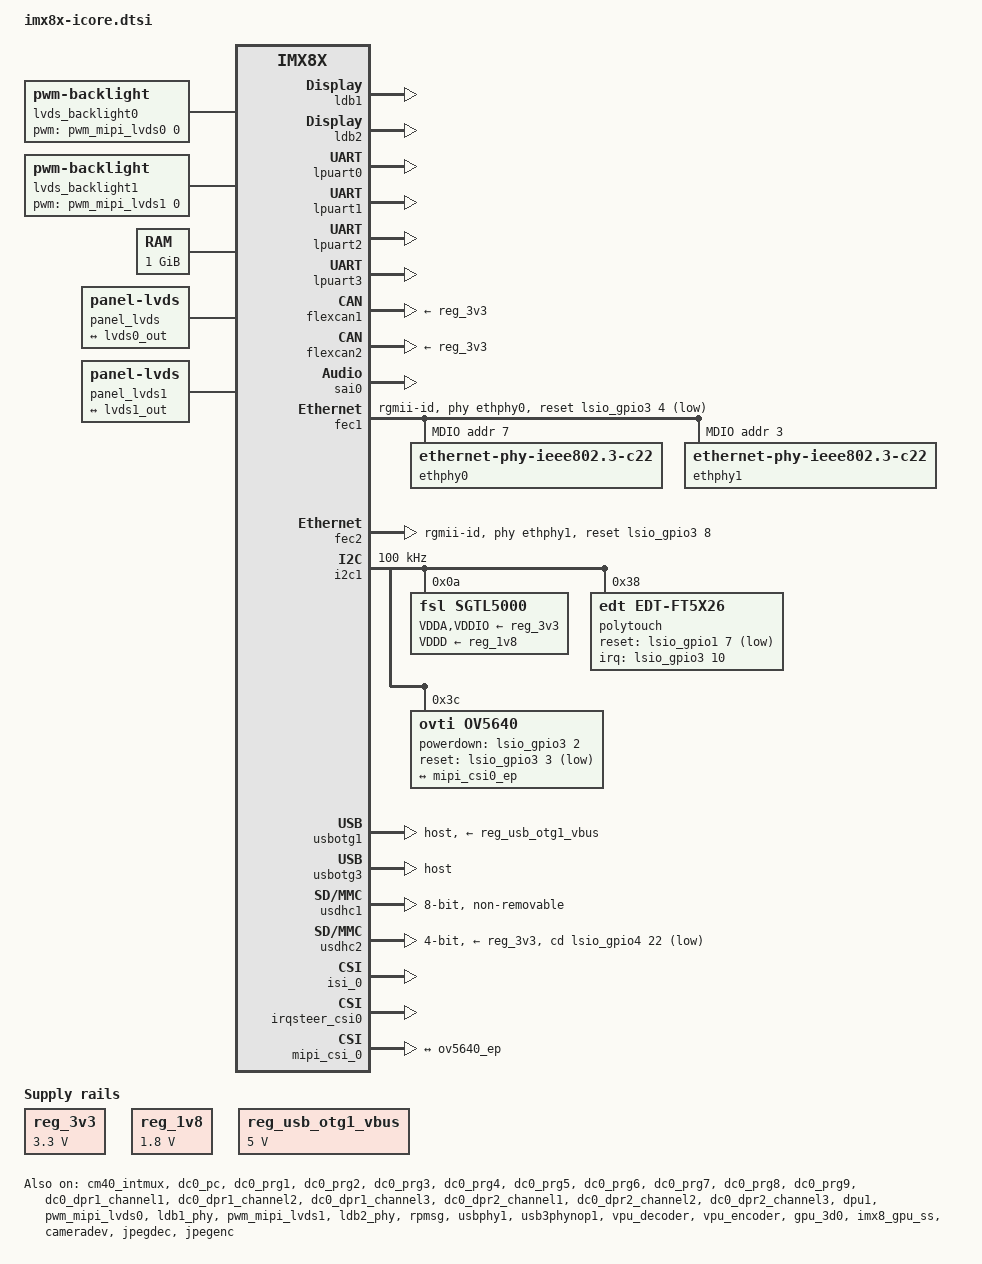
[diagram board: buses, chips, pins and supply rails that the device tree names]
// SPDX-License-Identifier: GPL-2.0+
/*
 * Copyright 2017-2020 NXP
 */

#include <dt-bindings/usb/pd.h>
/ {
	chosen {
		stdout-path = &lpuart0;
	};

	lvds_backlight0: lvds_backlight@0 {
		compatible = "pwm-backlight";
		pwms = <&pwm_mipi_lvds0 0 100000 0>;

		brightness-levels = < 0  1  2  3  4  5  6  7  8  9
				     10 11 12 13 14 15 16 17 18 19
				     20 21 22 23 24 25 26 27 28 29
				     30 31 32 33 34 35 36 37 38 39
				     40 41 42 43 44 45 46 47 48 49
				     50 51 52 53 54 55 56 57 58 59
				     60 61 62 63 64 65 66 67 68 69
				     70 71 72 73 74 75 76 77 78 79
				     80 81 82 83 84 85 86 87 88 89
				     90 91 92 93 94 95 96 97 98 99
				    100>;
		default-brightness-level = <80>;
	};

	lvds_backlight1: lvds_backlight@1 {
		compatible = "pwm-backlight";
		pwms = <&pwm_mipi_lvds1 0 100000 0>;

		brightness-levels = < 0  1  2  3  4  5  6  7  8  9
				     10 11 12 13 14 15 16 17 18 19
				     20 21 22 23 24 25 26 27 28 29
				     30 31 32 33 34 35 36 37 38 39
				     40 41 42 43 44 45 46 47 48 49
				     50 51 52 53 54 55 56 57 58 59
				     60 61 62 63 64 65 66 67 68 69
				     70 71 72 73 74 75 76 77 78 79
				     80 81 82 83 84 85 86 87 88 89
				     90 91 92 93 94 95 96 97 98 99
				    100>;
		default-brightness-level = <80>;
	};

	memory@80000000 {
		device_type = "memory";
		reg = <0x00000000 0x80000000 0 0x40000000>;
	};

	reserved-memory {
		#address-cells = <2>;
		#size-cells = <2>;
		ranges;

		/*
		 * 0x8800_0000 ~ 0x8FFF_FFFF is reserved for M4
		 * Shouldn't be used at A core and Linux side.
		 *
		 */
		m4_reserved: m4@0x88000000 {
			no-map;
			reg = <0 0x88000000 0 0x8000000>;
		};

		rpmsg_reserved: rpmsg@0x90000000 {
			no-map;
			reg = <0 0x90200000 0 0x200000>;
		};

		decoder_boot: decoder-boot@84000000 {
			reg = <0 0x84000000 0 0x2000000>;
			no-map;
		};

		encoder_boot: encoder-boot@86000000 {
			reg = <0 0x86000000 0 0x200000>;
			no-map;
		};

		decoder_rpc: decoder-rpc@0x92000000 {
			reg = <0 0x92000000 0 0x200000>;
			no-map;
		};

		encoder_rpc: encoder-rpc@0x92200000 {
			reg = <0 0x92200000 0 0x200000>;
			no-map;
		};
		encoder_reserved: encoder_reserved@94400000 {
			no-map;
			reg = <0 0x94400000 0 0x800000>;
		};
		/* global autoconfigured region for contiguous allocations */
		linux,cma {
			compatible = "shared-dma-pool";
			reusable;
			size = <0 0x3c000000>;
			alloc-ranges = <0 0x96000000 0 0x3c000000>;
			linux,cma-default;
		};
	};

	reg_3v3: regulator-3v3 {
		compatible = "regulator-fixed";
		regulator-name = "3v3";
		regulator-min-microvolt = <3300000>;
		regulator-max-microvolt = <3300000>;
		regulator-always-on;
	};

	reg_1v8: regulator-1v8 {
		compatible = "regulator-fixed";
		regulator-name = "1v8";
		regulator-min-microvolt = <1800000>;
		regulator-max-microvolt = <1800000>;
		regulator-always-on;
	};

	reg_usb_otg1_vbus: regulator-usbotg1-vbus {
		compatible = "regulator-fixed";
		regulator-name = "usb_otg1_vbus";
		regulator-min-microvolt = <5000000>;
		regulator-max-microvolt = <5000000>;
		regulator-always-on;
	};

	sound {
		compatible = "simple-audio-card";
		simple-audio-card,name = "imx8qxp-sgtl5000";
		simple-audio-card,format = "i2s";
		simple-audio-card,bitclock-master = <&dailink_master>;
		simple-audio-card,frame-master = <&dailink_master>;
		/*simple-audio-card,mclk-fs = <1>;*/
		simple-audio-card,cpu {
			sound-dai = <&sai0>;
		};

		dailink_master: simple-audio-card,codec {
		    sound-dai = <&sgtl5000>;
			clocks = <&mclkout0_lpcg 0>;
		};   
	};

	imx8x_cm4: imx8x_cm4@0 {
		compatible = "fsl,imx8qxp-cm4";
		rsc-da = <0x90000000>;
		mbox-names = "tx", "rx", "rxdb";
		mboxes = <&lsio_mu5 0 1
			  &lsio_mu5 1 1
			  &lsio_mu5 3 1>;
		mub-partition = <3>;
		memory-region = <&vdev0vring0>, <&vdev0vring1>, <&vdevbuffer>,
				<&vdev1vring0>, <&vdev1vring1>;
		core-index = <0>;
		core-id = <IMX_SC_R_M4_0_PID0>;
		status = "okay";
		power-domains = <&pd IMX_SC_R_M4_0_PID0>,
				<&pd IMX_SC_R_M4_0_MU_1A>;
	};

	panel_lvds: panel-lvds {
		compatible = "panel-lvds";

		width-mm = <210>;
		height-mm = <158>;
		data-mapping = "vesa-24";
		status = "okay";

		panel-timing {
			/* 1024x600 @65Hz */
			clock-frequency = <65000000>;
			hactive = <1024>;
			vactive = <600>;
			hsync-len = <136>;
			hfront-porch = <20>;
			hback-porch = <160>;
			vfront-porch = <3>;
			vback-porch = <29>;
			vsync-len = <6>;
		};

		port {
			panel_in_lvds: endpoint {
				remote-endpoint = <&lvds0_out>;
			};
		};
	};

	panel_lvds1: panel-lvds1 {
		compatible = "panel-lvds";

		width-mm = <210>;
		height-mm = <158>;
		data-mapping = "jeida-24";
		status = "okay";

		panel-timing {
			/* 1024x800 @65Hz */
			clock-frequency = <65000000>;
			hactive = <1024>;
			vactive = <800>;
			hsync-len = <136>;
			hfront-porch = <20>;
			hback-porch = <160>;
			vfront-porch = <3>;
			vback-porch = <29>;
			vsync-len = <6>;
		};

		port {
			panel_in_lvds1: endpoint {
				remote-endpoint = <&lvds1_out>;
			};
		};
	};

	reserved-memory {
		#address-cells = <2>;
		#size-cells = <2>;
		ranges;

		vdev0vring0: vdev0vring0@90000000 {
                        compatible = "shared-dma-pool";
			reg = <0 0x90000000 0 0x8000>;
			no-map;
		};

		vdev0vring1: vdev0vring1@90008000 {
                        compatible = "shared-dma-pool";
			reg = <0 0x90008000 0 0x8000>;
			no-map;
		};

		vdev1vring0: vdev1vring0@90010000 {
                        compatible = "shared-dma-pool";
			reg = <0 0x90010000 0 0x8000>;
			no-map;
		};

		vdev1vring1: vdev1vring1@90018000 {
                        compatible = "shared-dma-pool";
			reg = <0 0x90018000 0 0x8000>;
			no-map;
		};

		vdevbuffer: vdevbuffer {
                        compatible = "shared-dma-pool";
			reg = <0 0x90400000 0 0x100000>;
			no-map;
		};
	};

};

&cm40_i2c {
	#address-cells = <1>;
	#size-cells = <0>;
	clock-frequency = <100000>;
	pinctrl-names = "default", "gpio";
	pinctrl-0 = <&pinctrl_cm40_i2c>;
	pinctrl-1 = <&pinctrl_cm40_i2c_gpio>;
	scl-gpios = <&lsio_gpio1 10 GPIO_ACTIVE_HIGH>;
	sda-gpios = <&lsio_gpio1 9 GPIO_ACTIVE_HIGH>;
	status = "disabled";
};

&cm40_intmux {
	status = "okay";
};

&dc0_pc {
	status = "okay";
};

&dc0_prg1 {
	status = "okay";
};

&dc0_prg2 {
	status = "okay";

};

&dc0_prg3 {
	status = "okay";
};

&dc0_prg4 {
	status = "okay";
};

&dc0_prg5 {
	status = "okay";
};

&dc0_prg6 {
	status = "okay";
};

&dc0_prg7 {
	status = "okay";
};

&dc0_prg8 {
	status = "okay";
};

&dc0_prg9 {
	status = "okay";
};

&dc0_dpr1_channel1 {
	status = "okay";
};

&dc0_dpr1_channel2 {
	status = "okay";
};

&dc0_dpr1_channel3 {
	status = "okay";
};

&dc0_dpr2_channel1 {
	status = "okay";
};

&dc0_dpr2_channel2 {
	status = "okay";
};

&dc0_dpr2_channel3 {
	status = "okay";
};

&dpu1 {
	status = "okay";
};

&pwm_mipi_lvds0 {
	pinctrl-names = "default";
	pinctrl-0 = <&pinctrl_pwm_mipi_lvds0>;
	status = "okay";
};

&i2c0_mipi_lvds0 {
	#address-cells = <1>;
	#size-cells = <0>;
	pinctrl-names = "default";
	pinctrl-0 = <&pinctrl_i2c0_mipi_lvds0>;
	clock-frequency = <100000>;
	status = "disabled";
};

&ldb1_phy {
	status = "okay";
};

&ldb1 {
	status = "okay";
   	pinctrl-assert-gpios = <&lsio_gpio1 27 GPIO_ACTIVE_HIGH>;

	lvds-channel@0 {
		fsl,data-mapping = "spwg";
		fsl,data-width = <24>;
		status = "okay";

		port@1 {
			reg = <1>;

			lvds0_out: endpoint {
				remote-endpoint = <&panel_in_lvds>;
			};
		};
	};

};

&pwm_mipi_lvds1 {
	pinctrl-names = "default";
	pinctrl-0 = <&pinctrl_pwm_mipi_lvds1>;
	status = "okay";
};

&i2c0_mipi_lvds1 {
	#address-cells = <1>;
	#size-cells = <0>;
	pinctrl-names = "default";
	pinctrl-0 = <&pinctrl_i2c0_mipi_lvds1>;
	clock-frequency = <100000>;
	status = "disabled";
};

&ldb2_phy {
	status = "okay";
};

&ldb2 {
	status = "okay";
   	pinctrl-assert-gpios = <&lsio_gpio1 31 GPIO_ACTIVE_HIGH>;


	lvds-channel@0 {
		fsl,data-mapping = "jeida";
		fsl,data-width = <24>;
		status = "okay";

		port@1 {
			reg = <1>;

			lvds1_out: endpoint {
				remote-endpoint = <&panel_in_lvds1>;
			};
		};
	};
};

&lpuart0 {
	pinctrl-names = "default";
	pinctrl-0 = <&pinctrl_lpuart0>;
	status = "okay";
};

&lpuart1 {
	pinctrl-names = "default";
	pinctrl-0 = <&pinctrl_lpuart1>;
	status = "okay";
};

&lpuart2 {
	pinctrl-names = "default";
	pinctrl-0 = <&pinctrl_lpuart2>;
	status = "okay";
};

&lpuart3 {
	pinctrl-names = "default";
	pinctrl-0 = <&pinctrl_lpuart3>;
	status = "okay";
};

&flexcan1 {
	pinctrl-names = "default";
	pinctrl-0 = <&pinctrl_flexcan1>;
	xceiver-supply = <&reg_3v3>;
	status = "okay";
};

&flexcan2 {
	pinctrl-names = "default";
	pinctrl-0 = <&pinctrl_flexcan2>;
	xceiver-supply = <&reg_3v3>;
	status = "okay";
};

&amix {
	status = "disabled";
};

&asrc0 {
	fsl,asrc-rate  = <48000>;
	status = "disabled";
};

&dsp {
	compatible = "fsl,imx8qxp-dsp-v1";
	status = "disabled";
};

&esai0 {
	pinctrl-names = "default";
	pinctrl-0 = <&pinctrl_esai0>;
	assigned-clocks = <&acm IMX_ADMA_ACM_ESAI0_MCLK_SEL>,
			<&clk IMX_SC_R_AUDIO_PLL_0 IMX_SC_PM_CLK_PLL>,
			<&clk IMX_SC_R_AUDIO_PLL_0 IMX_SC_PM_CLK_SLV_BUS>,
			<&clk IMX_SC_R_AUDIO_PLL_0 IMX_SC_PM_CLK_MST_BUS>,
			<&esai0_lpcg 0>;
	assigned-clock-parents = <&aud_pll_div0_lpcg 0>;
	assigned-clock-rates = <0>, <786432000>, <49152000>, <12288000>, <49152000>;
	fsl,txm-rxs;
	status = "disabled";
};

&sai0 {
	#sound-dai-cells = <0>;
	assigned-clocks = <&clk IMX_SC_R_AUDIO_PLL_0 IMX_SC_PM_CLK_PLL>,
			<&clk IMX_SC_R_AUDIO_PLL_0 IMX_SC_PM_CLK_SLV_BUS>,
			<&clk IMX_SC_R_AUDIO_PLL_0 IMX_SC_PM_CLK_MST_BUS>,
			<&sai0_lpcg 0>;
	assigned-clock-rates = <786432000>, <49152000>, <12288000>, <49152000>;
	pinctrl-names = "default";
	pinctrl-0 = <&pinctrl_sai0>;
	status = "okay";
};

&sai1 {
	assigned-clocks = <&clk IMX_SC_R_AUDIO_PLL_0 IMX_SC_PM_CLK_PLL>,
			<&clk IMX_SC_R_AUDIO_PLL_0 IMX_SC_PM_CLK_SLV_BUS>,
			<&clk IMX_SC_R_AUDIO_PLL_0 IMX_SC_PM_CLK_MST_BUS>,
			<&sai1_lpcg 0>; /* FIXME: should be sai1, original code is 0 */
	assigned-clock-rates = <786432000>, <49152000>, <12288000>, <49152000>;
	pinctrl-names = "default";
	pinctrl-0 = <&pinctrl_sai1>;
	status = "disabled";
};

&sai4 {
	assigned-clocks = <&acm IMX_ADMA_ACM_SAI4_MCLK_SEL>,
			<&clk IMX_SC_R_AUDIO_PLL_1 IMX_SC_PM_CLK_PLL>,
			<&clk IMX_SC_R_AUDIO_PLL_1 IMX_SC_PM_CLK_SLV_BUS>,
			<&clk IMX_SC_R_AUDIO_PLL_1 IMX_SC_PM_CLK_MST_BUS>,
			<&sai4_lpcg 0>;
	assigned-clock-parents = <&aud_pll_div1_lpcg 0>;
	assigned-clock-rates = <0>, <786432000>, <98304000>, <12288000>, <98304000>;
	fsl,sai-asynchronous;
	fsl,txm-rxs;
	status = "disabled";
};

&sai5 {
	assigned-clocks = <&acm IMX_ADMA_ACM_SAI5_MCLK_SEL>,
			<&clk IMX_SC_R_AUDIO_PLL_1 IMX_SC_PM_CLK_PLL>,
			<&clk IMX_SC_R_AUDIO_PLL_1 IMX_SC_PM_CLK_SLV_BUS>,
			<&clk IMX_SC_R_AUDIO_PLL_1 IMX_SC_PM_CLK_MST_BUS>,
			<&sai5_lpcg 0>;
	assigned-clock-parents = <&aud_pll_div1_lpcg 0>;
	assigned-clock-rates = <0>, <786432000>, <98304000>, <12288000>, <98304000>;
	fsl,sai-asynchronous;
	fsl,txm-rxs;
	status = "disabled";
};

&fec1 {
	pinctrl-names = "default";
	pinctrl-0 = <&pinctrl_fec1>;
	phy-mode = "rgmii-id";
	phy-handle = <&ethphy0>;
//	fsl,magic-packet;
//	nvmem-cells = <&fec_mac0>;
//	nvmem-cell-names = "mac-address";
   	reset-gpio = <&lsio_gpio3 4 GPIO_ACTIVE_LOW>; 
	status = "okay";

	mdio {
		#address-cells = <1>;
		#size-cells = <0>;

		ethphy0: ethernet-phy@7 {
			compatible = "ethernet-phy-ieee802.3-c22";
			reg = <7>;
			status = "okay";
		};

		ethphy1: ethernet-phy@3 {
			compatible = "ethernet-phy-ieee802.3-c22";
			reg = <3>;
			status = "okay";
		};
	};
};

&fec2 {
	pinctrl-names = "default";
	pinctrl-0 = <&pinctrl_fec2>;
	phy-mode = "rgmii-id";
	phy-handle = <&ethphy1>;
//	fsl,magic-packet;
   	reset-gpio = <&lsio_gpio3 8 GPIO_ACTIVE_HIGH>;
	status = "okay";
};

&i2c1 {
	#address-cells = <1>;
	#size-cells = <0>;
	clock-frequency = <100000>;
	pinctrl-names = "default";
	pinctrl-0 = <&pinctrl_lpi2c1>;
	status = "okay";

	sgtl5000: codec@a {
		compatible = "fsl,sgtl5000";
		status = "okay";
		#sound-dai-cells = <0>;
		reg = <0x0a>;
		clocks = <&mclkout0_lpcg 0>;
		clock-names = "mclk";
//		power-domains = <&pd_mclk_out0>;
		assigned-clocks = <&clk IMX_SC_R_AUDIO_PLL_0 IMX_SC_PM_CLK_PLL>,
				<&clk IMX_SC_R_AUDIO_PLL_0 IMX_SC_PM_CLK_SLV_BUS>,
				<&clk IMX_SC_R_AUDIO_PLL_0 IMX_SC_PM_CLK_MST_BUS>,
				<&mclkout0_lpcg 0>;
		assigned-clock-rates = <786432000>, <49152000>, <12288000>, <12288000>;
		VDDA-supply = <&reg_3v3>;
		VDDIO-supply = <&reg_3v3>;
		VDDD-supply = <&reg_1v8>;
	};

	polytouch: edt-ft5x26@38 {
		compatible = "edt,edt-ft5x26";
		reg = <0x38>;
		pinctrl-names = "default";
		pinctrl-0 = <&pinctrl_touch1>;
		interrupt-parent = <&lsio_gpio3>;
		interrupts = <10 IRQ_TYPE_EDGE_FALLING>;
		reset-gpios= <&lsio_gpio1 7 GPIO_ACTIVE_LOW>;
	};

	ov5640: ov5640@3c {
		compatible = "ovti,ov5640";
		reg = <0x3c>;
		pinctrl-names = "default";
		pinctrl-0 = <&pinctrl_mipi_csi0>;
		clocks = <&pi0_misc_lpcg 0>;
		assigned-clocks = <&pi0_misc_lpcg 0>;
		assigned-clock-rates = <24000000>;
		clock-names = "xclk";
		csi_id = <0>;
		powerdown-gpios = <&lsio_gpio3 2 GPIO_ACTIVE_HIGH>;
		reset-gpios = <&lsio_gpio3 3 GPIO_ACTIVE_LOW>;
		mclk = <24000000>;
		mclk_source = <0>;
		mipi_csi;
		status = "okay";

		port {
			ov5640_ep: endpoint {
				remote-endpoint = <&mipi_csi0_ep>;
				data-lanes = <1 2>;
				clock-lanes = <0>;
			};
		};
	};
};

&pcieb{
	compatible = "fsl,imx8qxp-pcie","snps,dw-pcie";
	pinctrl-names = "default";
	pinctrl-0 = <&pinctrl_pcieb>;
	clkreq-gpio = <&lsio_gpio4 1 GPIO_ACTIVE_LOW>;
	reset-gpio = <&lsio_gpio4 0 GPIO_ACTIVE_LOW>;

	ext_osc = <1>;
	reserved-region = <&rpmsg_reserved>;
	status = "disabled";
};

&rpmsg{
	/*
	 * 64K for one rpmsg instance:
	 */
	vdev-nums = <2>;
	reg = <0x0 0x90000000 0x0 0x20000>;
	memory-region = <&vdevbuffer>;
	status = "okay";
};

&usbphy1 {
	status = "okay";
};

&usbotg1 {
	vbus-supply = <&reg_usb_otg1_vbus>;
   	pinctrl-assert-gpios = <&lsio_gpio3 21 GPIO_ACTIVE_HIGH>; /* TBD da sistemare MM */
	srp-disable;
	hnp-disable;
	adp-disable;
	power-active-high;
	disable-over-current;
	dr_mode = "host";
	status = "okay";
};

&usb3phynop1 {
	status = "okay";
};

&usbotg3 {
	dr_mode = "host";
//	extcon = <&ptn5110>;
	status = "okay";
};

&usdhc1 {
	pinctrl-names = "default", "state_100mhz", "state_200mhz";
	pinctrl-0 = <&pinctrl_usdhc1>;
	pinctrl-1 = <&pinctrl_usdhc1_100mhz>;
	pinctrl-2 = <&pinctrl_usdhc1_200mhz>;
	bus-width = <8>;
	no-sd;
	no-sdio;
	non-removable;
	status = "okay";
};

&usdhc2 {
	pinctrl-names = "default", "state_100mhz", "state_200mhz";
	pinctrl-0 = <&pinctrl_usdhc2>, <&pinctrl_usdhc2_gpio>;
	pinctrl-1 = <&pinctrl_usdhc2>, <&pinctrl_usdhc2_gpio>;
	pinctrl-2 = <&pinctrl_usdhc2>, <&pinctrl_usdhc2_gpio>;
	bus-width = <4>;
	vmmc-supply = <&reg_3v3>;
	no-1-8-v;
	cd-gpios = <&lsio_gpio4 22 GPIO_ACTIVE_LOW>;
	status = "okay";
};

&vpu_decoder {
	boot-region = <&decoder_boot>;
	rpc-region = <&decoder_rpc>;
	reg-csr = <0x2d040000>;
	core_type = <1>;
	status = "okay";
};

&vpu_encoder {
	boot-region = <&encoder_boot>;
	rpc-region = <&encoder_rpc>;
	reserved-region = <&encoder_reserved>;
	reg-rpc-system = <0x40000000>;
	resolution-max = <1920 1920>;
	mbox-names = "enc1_tx0", "enc1_tx1", "enc1_rx";
	mboxes = <&mu1_m0 0 0
		  &mu1_m0 0 1
		  &mu1_m0 1 0>;
	status = "okay";

	core0@1020000 {
		compatible = "fsl,imx8-mu1-vpu-m0";
		reg = <0x1020000 0x20000>;
		reg-csr = <0x1050000 0x10000>;
		interrupts = <GIC_SPI 470 IRQ_TYPE_LEVEL_HIGH>;
		fsl,vpu_ap_mu_id = <17>;
		fw-buf-size = <0x200000>;
		rpc-buf-size = <0x80000>;
		print-buf-size = <0x80000>;
	};
};

&gpu_3d0 {
	status = "okay";
};

&imx8_gpu_ss {
	status = "okay";
};

&isi_0 {
	status = "okay";

	cap_device {
		status = "okay";
	};

	m2m_device {
		status = "okay";
	};
};

&isi_1 {
	status = "disabled";

	cap_device {
		status = "disabled";
	};
};

&isi_2 {
	status = "disabled";

	cap_device {
		status = "disabled";
	};
};

&isi_3 {
	status = "disabled";

	cap_device {
		status = "disabled";
	};
};


&isi_4 {
	interface = <6 0 2>;
	status = "disabled";

	cap_device {
		status = "disabled";
	};
};

&irqsteer_csi0 {
	status = "okay";
};


&mipi_csi_0 {
	#address-cells = <1>;
	#size-cells = <0>;
	/delete-property/virtual-channel;
	status = "okay";

	/* Camera 0  MIPI CSI-2 (CSIS0) */
	port@0 {
		reg = <0>;
		mipi_csi0_ep: endpoint {
			remote-endpoint = <&ov5640_ep>;
			data-lanes = <1 2>;
		};
	};
};

&cameradev {
//	parallel_csi;
	status = "okay";
};

&parallel_csi {
	#address-cells = <1>;
	#size-cells = <0>;
	status = "disabled";
};

&jpegdec {
	status = "okay";
};

&jpegenc {
	status = "okay";
};

&i2c_mipi_csi0 {
	#address-cells = <1>;
	#size-cells = <0>;
	pinctrl-names = "default";
	pinctrl-0 = <&pinctrl_i2c_mipi_csi0>;
	clock-frequency = <100000>;
	status = "disabled";
};

&thermal_zones {
	pmic-thermal0 {
		polling-delay-passive = <250>;
		polling-delay = <2000>;
		thermal-sensors = <&tsens 497>;
		trips {
			pmic_alert0: trip0 {
				temperature = <110000>;
				hysteresis = <2000>;
				type = "passive";
			};
			pmic_crit0: trip1 {
				temperature = <125000>;
				hysteresis = <2000>;
				type = "critical";
			};
		};
		cooling-maps {
			map0 {
				trip = <&pmic_alert0>;
				cooling-device =
					<&A35_0 THERMAL_NO_LIMIT THERMAL_NO_LIMIT>,
					<&A35_1 THERMAL_NO_LIMIT THERMAL_NO_LIMIT>,
					<&A35_2 THERMAL_NO_LIMIT THERMAL_NO_LIMIT>,
					<&A35_3 THERMAL_NO_LIMIT THERMAL_NO_LIMIT>;
			};
		};
	};
};

&iomuxc {
	pinctrl-names = "default";
	pinctrl-0 = <&pinctrl_hog>;

	pinctrl_hog: hoggrp {
		fsl,pins = <
			IMX8QXP_MCLK_OUT0_ADMA_ACM_MCLK_OUT0       0x0600004c
			IMX8QXP_COMP_CTL_GPIO_1V8_3V3_GPIORHB_PAD  0x000514a0
//			IMX8QXP_MIPI_DSI0_GPIO0_00_LSIO_GPIO1_IO27 0x06000020 /* TDB MM backligth LVDS0 */
//			IMX8QXP_MIPI_DSI1_GPIO0_00_LSIO_GPIO1_IO31 0x06000020 /* TDB MM backligth LVDS1 */
//			IMX8QXP_MIPI_CSI0_MCLK_OUT_LSIO_GPIO3_IO04 0x06000020 /* TDB MM RGMII reset */
			IMX8QXP_MIPI_CSI0_GPIO0_00_LSIO_GPIO3_IO08 0x06000020 /* TDB MM RGMII2 reset */
			IMX8QXP_QSPI0B_DATA3_LSIO_GPIO3_IO21 0x06000020 /* TDB MM USB HUB reset */
		>;
	};

	pinctrl_touch1: touch1_intgrp {
		fsl,pins = <
			IMX8QXP_QSPI0A_DATA1_LSIO_GPIO3_IO10	0x06000020
			IMX8QXP_SPI0_CS1_LSIO_GPIO1_IO07 		0x06000020
		>;
	};

	pinctrl_cm40_i2c: cm40i2cgrp {
		fsl,pins = <
			IMX8QXP_ADC_IN1_M40_I2C0_SDA                            0x0600004c
			IMX8QXP_ADC_IN0_M40_I2C0_SCL                            0x0600004c
		>;
	};

	pinctrl_cm40_i2c_gpio: cm40i2cgrp-gpio {
		fsl,pins = <
			IMX8QXP_ADC_IN1_LSIO_GPIO1_IO09		0xc600004c
			IMX8QXP_ADC_IN0_LSIO_GPIO1_IO10		0xc600004c
		>;
	};

	pinctrl_i2c0_mipi_lvds0: mipi_lvds0_i2c0_grp {
		fsl,pins = <
			IMX8QXP_MIPI_DSI0_I2C0_SCL_MIPI_DSI0_I2C0_SCL		0xc6000020
			IMX8QXP_MIPI_DSI0_I2C0_SDA_MIPI_DSI0_I2C0_SDA		0xc6000020
			IMX8QXP_MIPI_DSI0_GPIO0_01_LSIO_GPIO1_IO28		0x00000020
		>;
	};

	pinctrl_i2c0_mipi_lvds1: mipi_lvds1_i2c0_grp {
		fsl,pins = <
			IMX8QXP_MIPI_DSI1_I2C0_SCL_MIPI_DSI1_I2C0_SCL		0xc6000020
			IMX8QXP_MIPI_DSI1_I2C0_SDA_MIPI_DSI1_I2C0_SDA		0xc6000020
			IMX8QXP_MIPI_DSI1_GPIO0_01_LSIO_GPIO2_IO00		0x00000020
		>;
	};

	pinctrl_esai0: esai0grp {
		fsl,pins = <
			IMX8QXP_ESAI0_FSR_ADMA_ESAI0_FSR           0xc6000040
			IMX8QXP_ESAI0_FST_ADMA_ESAI0_FST           0xc6000040
			IMX8QXP_ESAI0_SCKR_ADMA_ESAI0_SCKR         0xc6000040
			IMX8QXP_ESAI0_SCKT_ADMA_ESAI0_SCKT         0xc6000040
			IMX8QXP_ESAI0_TX0_ADMA_ESAI0_TX0           0xc6000040
			IMX8QXP_ESAI0_TX1_ADMA_ESAI0_TX1           0xc6000040
			IMX8QXP_ESAI0_TX2_RX3_ADMA_ESAI0_TX2_RX3   0xc6000040
			IMX8QXP_ESAI0_TX3_RX2_ADMA_ESAI0_TX3_RX2   0xc6000040
			IMX8QXP_ESAI0_TX4_RX1_ADMA_ESAI0_TX4_RX1   0xc6000040
			IMX8QXP_ESAI0_TX5_RX0_ADMA_ESAI0_TX5_RX0   0xc6000040
		>;
	};

	pinctrl_fec1: fec1grp {
		fsl,pins = <
			IMX8QXP_COMP_CTL_GPIO_1V8_3V3_ENET_ENETB0_PAD		0x000014a0
			IMX8QXP_COMP_CTL_GPIO_1V8_3V3_ENET_ENETB1_PAD		0x000014a0
			IMX8QXP_ENET0_MDC_CONN_ENET0_MDC			0x06000020
			IMX8QXP_ENET0_MDIO_CONN_ENET0_MDIO			0x06000020
			IMX8QXP_ENET0_RGMII_TX_CTL_CONN_ENET0_RGMII_TX_CTL	0x00000061
			IMX8QXP_ENET0_RGMII_TXC_CONN_ENET0_RGMII_TXC		0x00000061
			IMX8QXP_ENET0_RGMII_TXD0_CONN_ENET0_RGMII_TXD0		0x00000061
			IMX8QXP_ENET0_RGMII_TXD1_CONN_ENET0_RGMII_TXD1		0x00000061
			IMX8QXP_ENET0_RGMII_TXD2_CONN_ENET0_RGMII_TXD2		0x00000061
			IMX8QXP_ENET0_RGMII_TXD3_CONN_ENET0_RGMII_TXD3		0x00000061
			IMX8QXP_ENET0_RGMII_RXC_CONN_ENET0_RGMII_RXC		0x00000061
			IMX8QXP_ENET0_RGMII_RX_CTL_CONN_ENET0_RGMII_RX_CTL	0x00000061
			IMX8QXP_ENET0_RGMII_RXD0_CONN_ENET0_RGMII_RXD0		0x00000061
			IMX8QXP_ENET0_RGMII_RXD1_CONN_ENET0_RGMII_RXD1		0x00000061
			IMX8QXP_ENET0_RGMII_RXD2_CONN_ENET0_RGMII_RXD2		0x00000061
			IMX8QXP_ENET0_RGMII_RXD3_CONN_ENET0_RGMII_RXD3		0x00000061

			IMX8QXP_MIPI_CSI0_MCLK_OUT_LSIO_GPIO3_IO04 0x06000020 /* TDB MM RGMII reset */
		>;
	};

	pinctrl_fec2: fec2grp {
		fsl,pins = <
			IMX8QXP_ESAI0_SCKR_CONN_ENET1_RGMII_TX_CTL	0x00000060
			IMX8QXP_ESAI0_FSR_CONN_ENET1_RGMII_TXC		0x00000060
			IMX8QXP_ESAI0_TX4_RX1_CONN_ENET1_RGMII_TXD0	0x00000060
			IMX8QXP_ESAI0_TX5_RX0_CONN_ENET1_RGMII_TXD1	0x00000060
			IMX8QXP_ESAI0_FST_CONN_ENET1_RGMII_TXD2		0x00000060
			IMX8QXP_ESAI0_SCKT_CONN_ENET1_RGMII_TXD3	0x00000060
			IMX8QXP_ESAI0_TX0_CONN_ENET1_RGMII_RXC		0x00000060
			IMX8QXP_SPDIF0_TX_CONN_ENET1_RGMII_RX_CTL	0x00000060
			IMX8QXP_SPDIF0_RX_CONN_ENET1_RGMII_RXD0		0x00000060
			IMX8QXP_ESAI0_TX3_RX2_CONN_ENET1_RGMII_RXD1	0x00000060
			IMX8QXP_ESAI0_TX2_RX3_CONN_ENET1_RGMII_RXD2	0x00000060
			IMX8QXP_ESAI0_TX1_CONN_ENET1_RGMII_RXD3		0x00000060
		>;
	};

	pinctrl_flexspi0: flexspi0grp {
		fsl,pins = <
			IMX8QXP_QSPI0A_DATA0_LSIO_QSPI0A_DATA0     0x06000021
			IMX8QXP_QSPI0A_DATA1_LSIO_QSPI0A_DATA1     0x06000021
			IMX8QXP_QSPI0A_DATA2_LSIO_QSPI0A_DATA2     0x06000021
			IMX8QXP_QSPI0A_DATA3_LSIO_QSPI0A_DATA3     0x06000021
			IMX8QXP_QSPI0A_DQS_LSIO_QSPI0A_DQS         0x06000021
			IMX8QXP_QSPI0A_SS0_B_LSIO_QSPI0A_SS0_B     0x06000021
			IMX8QXP_QSPI0A_SS1_B_LSIO_QSPI0A_SS1_B     0x06000021
			IMX8QXP_QSPI0A_SCLK_LSIO_QSPI0A_SCLK       0x06000021
			IMX8QXP_QSPI0B_SCLK_LSIO_QSPI0B_SCLK       0x06000021
			IMX8QXP_QSPI0B_DATA0_LSIO_QSPI0B_DATA0     0x06000021
			IMX8QXP_QSPI0B_DATA1_LSIO_QSPI0B_DATA1     0x06000021
			IMX8QXP_QSPI0B_DATA2_LSIO_QSPI0B_DATA2     0x06000021
			IMX8QXP_QSPI0B_DATA3_LSIO_QSPI0B_DATA3     0x06000021
			IMX8QXP_QSPI0B_DQS_LSIO_QSPI0B_DQS         0x06000021
			IMX8QXP_QSPI0B_SS0_B_LSIO_QSPI0B_SS0_B     0x06000021
			IMX8QXP_QSPI0B_SS1_B_LSIO_QSPI0B_SS1_B     0x06000021
		>;
	};

	pinctrl_isl29023: isl29023grp {
		fsl,pins = <
			IMX8QXP_SPI2_SDI_LSIO_GPIO1_IO02			0x00000021
		>;
	};

	pinctrl_lpi2c1: lpi2c1grp {
		fsl,pins = <
			IMX8QXP_USB_SS3_TC1_ADMA_I2C1_SCL			0x06000021
			IMX8QXP_USB_SS3_TC3_ADMA_I2C1_SDA			0x06000021
		>;
	};

	pinctrl_flexcan1: flexcan0grp {
		fsl,pins = <
			IMX8QXP_FLEXCAN0_TX_ADMA_FLEXCAN0_TX            0x21
			IMX8QXP_FLEXCAN0_RX_ADMA_FLEXCAN0_RX            0x21
		>;
	};

	pinctrl_flexcan2: flexcan1grp {
		fsl,pins = <
			IMX8QXP_FLEXCAN1_TX_ADMA_FLEXCAN1_TX            0x21
			IMX8QXP_FLEXCAN1_RX_ADMA_FLEXCAN1_RX            0x21
			>;
	};

	pinctrl_lpuart0: lpuart0grp {
		fsl,pins = <
			IMX8QXP_UART0_RX_ADMA_UART0_RX				0x06000020
			IMX8QXP_UART0_TX_ADMA_UART0_TX				0x06000020
		>;
	};

	pinctrl_lpuart1: lpuart1grp {
		fsl,pins = <
			IMX8QXP_UART1_TX_ADMA_UART1_TX		0x06000020
			IMX8QXP_UART1_RX_ADMA_UART1_RX		0x06000020
			IMX8QXP_UART1_RTS_B_ADMA_UART1_RTS_B	0x06000020
			IMX8QXP_UART1_CTS_B_ADMA_UART1_CTS_B	0x06000020
		>;
	};

	pinctrl_lpuart2: lpuart2grp {
		fsl,pins = <
			IMX8QXP_UART2_TX_ADMA_UART2_TX		0x06000020
			IMX8QXP_UART2_RX_ADMA_UART2_RX		0x06000020
		>;
	};

	pinctrl_lpuart3: lpuart3grp {
		fsl,pins = <
			IMX8QXP_FLEXCAN2_TX_ADMA_UART3_TX	0x06000020
			IMX8QXP_FLEXCAN2_RX_ADMA_UART3_RX	0x06000020
		>;
	};

	pinctrl_pcieb: pcieagrp{
		fsl,pins = <
			IMX8QXP_PCIE_CTRL0_PERST_B_LSIO_GPIO4_IO00		0x06000021
			IMX8QXP_PCIE_CTRL0_CLKREQ_B_LSIO_GPIO4_IO01		0x06000021
			IMX8QXP_PCIE_CTRL0_WAKE_B_LSIO_GPIO4_IO02		0x04000021
		>;
	};

	pinctrl_pwm_mipi_lvds0: mipi_lvds0_pwm_grp {
		fsl,pins = <
			IMX8QXP_MIPI_DSI0_GPIO0_00_MIPI_DSI0_PWM0_OUT		0x00000020
		>;
	};

	pinctrl_pwm_mipi_lvds1: mipi_lvds1_pwm_grp {
		fsl,pins = <
			IMX8QXP_MIPI_DSI1_GPIO0_00_MIPI_DSI1_PWM0_OUT		0x00000020
		>;
	};

	pinctrl_sai0: sai0grp {
		fsl,pins = <
			IMX8QXP_SAI0_TXD_ADMA_SAI0_TXD		0x06000060
			IMX8QXP_SAI0_RXD_ADMA_SAI0_RXD		0x06000040
			IMX8QXP_SAI0_TXC_ADMA_SAI0_TXC		0x06000040
			IMX8QXP_SAI0_TXFS_ADMA_SAI0_TXFS	0x06000040
		>;
	};

	pinctrl_sai1: sai1grp {
		fsl,pins = <
			IMX8QXP_SAI1_RXD_ADMA_SAI1_RXD     0x06000040
			IMX8QXP_SAI1_RXC_ADMA_SAI1_TXC     0x06000040
			IMX8QXP_SAI1_RXFS_ADMA_SAI1_TXFS   0x06000040
			IMX8QXP_SPI0_CS1_ADMA_SAI1_TXD     0x06000060
			IMX8QXP_SPI2_CS0_LSIO_GPIO1_IO00   0x06000040
		>;
	};

	pinctrl_typec: typecgrp {
		fsl,pins = <
			IMX8QXP_SPI2_SCK_LSIO_GPIO1_IO03			0x06000021
		>;
	};

	pinctrl_typec_mux: typecmuxgrp {
		fsl,pins = <
			IMX8QXP_ENET0_REFCLK_125M_25M_LSIO_GPIO5_IO09		0x60
		>;
	};

	pinctrl_usdhc1: usdhc1grp {
		fsl,pins = <
			IMX8QXP_EMMC0_CLK_CONN_EMMC0_CLK			0x06000041
			IMX8QXP_EMMC0_CMD_CONN_EMMC0_CMD			0x00000021
			IMX8QXP_EMMC0_DATA0_CONN_EMMC0_DATA0			0x00000021
			IMX8QXP_EMMC0_DATA1_CONN_EMMC0_DATA1			0x00000021
			IMX8QXP_EMMC0_DATA2_CONN_EMMC0_DATA2			0x00000021
			IMX8QXP_EMMC0_DATA3_CONN_EMMC0_DATA3			0x00000021
			IMX8QXP_EMMC0_DATA4_CONN_EMMC0_DATA4			0x00000021
			IMX8QXP_EMMC0_DATA5_CONN_EMMC0_DATA5			0x00000021
			IMX8QXP_EMMC0_DATA6_CONN_EMMC0_DATA6			0x00000021
			IMX8QXP_EMMC0_DATA7_CONN_EMMC0_DATA7			0x00000021
			IMX8QXP_EMMC0_STROBE_CONN_EMMC0_STROBE			0x00000041
		>;
	};

	pinctrl_usdhc1_100mhz: usdhc1grp100mhz {
		fsl,pins = <
			IMX8QXP_EMMC0_CLK_CONN_EMMC0_CLK		0x06000040
			IMX8QXP_EMMC0_CMD_CONN_EMMC0_CMD		0x00000020
			IMX8QXP_EMMC0_DATA0_CONN_EMMC0_DATA0	0x00000020
			IMX8QXP_EMMC0_DATA1_CONN_EMMC0_DATA1	0x00000020
			IMX8QXP_EMMC0_DATA2_CONN_EMMC0_DATA2	0x00000020
			IMX8QXP_EMMC0_DATA3_CONN_EMMC0_DATA3	0x00000020
			IMX8QXP_EMMC0_DATA4_CONN_EMMC0_DATA4	0x00000020
			IMX8QXP_EMMC0_DATA5_CONN_EMMC0_DATA5	0x00000020
			IMX8QXP_EMMC0_DATA6_CONN_EMMC0_DATA6	0x00000020
			IMX8QXP_EMMC0_DATA7_CONN_EMMC0_DATA7	0x00000020
			IMX8QXP_EMMC0_STROBE_CONN_EMMC0_STROBE	0x06000040
		>;
	};

	pinctrl_usdhc1_200mhz: usdhc1grp200mhz {
		fsl,pins = <
			IMX8QXP_EMMC0_CLK_CONN_EMMC0_CLK		0x06000040
			IMX8QXP_EMMC0_CMD_CONN_EMMC0_CMD		0x00000020
			IMX8QXP_EMMC0_DATA0_CONN_EMMC0_DATA0	0x00000020
			IMX8QXP_EMMC0_DATA1_CONN_EMMC0_DATA1	0x00000020
			IMX8QXP_EMMC0_DATA2_CONN_EMMC0_DATA2	0x00000020
			IMX8QXP_EMMC0_DATA3_CONN_EMMC0_DATA3	0x00000020
			IMX8QXP_EMMC0_DATA4_CONN_EMMC0_DATA4	0x00000020
			IMX8QXP_EMMC0_DATA5_CONN_EMMC0_DATA5	0x00000020
			IMX8QXP_EMMC0_DATA6_CONN_EMMC0_DATA6	0x00000020
			IMX8QXP_EMMC0_DATA7_CONN_EMMC0_DATA7	0x00000020
			IMX8QXP_EMMC0_STROBE_CONN_EMMC0_STROBE	0x06000040
		>;
	};

	pinctrl_usdhc2_gpio: usdhc2gpiogrp {
		fsl,pins = <
			IMX8QXP_USDHC1_RESET_B_LSIO_GPIO4_IO19     0x00000021
			IMX8QXP_USDHC1_WP_LSIO_GPIO4_IO21          0x00000021
			IMX8QXP_USDHC1_CD_B_LSIO_GPIO4_IO22        0x00000021
		>;
	};


	pinctrl_usdhc2: usdhc2grp {
		fsl,pins = <
			IMX8QXP_USDHC1_CLK_CONN_USDHC1_CLK			0x06000041
			IMX8QXP_USDHC1_CMD_CONN_USDHC1_CMD			0x00000021
			IMX8QXP_USDHC1_DATA0_CONN_USDHC1_DATA0			0x00000021
			IMX8QXP_USDHC1_DATA1_CONN_USDHC1_DATA1			0x00000021
			IMX8QXP_USDHC1_DATA2_CONN_USDHC1_DATA2			0x00000021
			IMX8QXP_USDHC1_DATA3_CONN_USDHC1_DATA3			0x00000021
			IMX8QXP_USDHC1_VSELECT_CONN_USDHC1_VSELECT		0x00000021
		>;
	};

	pinctrl_i2c_mipi_csi0: i2c_mipi_csi0 {
		fsl,pins = <
			IMX8QXP_MIPI_CSI0_I2C0_SCL_MIPI_CSI0_I2C0_SCL		0xc2000020
			IMX8QXP_MIPI_CSI0_I2C0_SDA_MIPI_CSI0_I2C0_SDA		0xc2000020
		>;
	};

	pinctrl_mipi_csi0: mipi_csi0 {
		fsl,pins = <
			IMX8QXP_MIPI_CSI0_GPIO0_01_LSIO_GPIO3_IO07		0xC0000041
//			IMX8QXP_MIPI_CSI0_GPIO0_00_LSIO_GPIO3_IO08		0xC0000041
//			IMX8QXP_MIPI_CSI0_MCLK_OUT_MIPI_CSI0_ACM_MCLK_OUT	0xC0000041
		>;
	};

	pinctrl_parallel_csi: parallelcsigrp {
		fsl,pins = <
			IMX8QXP_CSI_D00_CI_PI_D02		0xC0000041
			IMX8QXP_CSI_D01_CI_PI_D03		0xC0000041
			IMX8QXP_CSI_D02_CI_PI_D04		0xC0000041
			IMX8QXP_CSI_D03_CI_PI_D05		0xC0000041
			IMX8QXP_CSI_D04_CI_PI_D06		0xC0000041
			IMX8QXP_CSI_D05_CI_PI_D07		0xC0000041
			IMX8QXP_CSI_D06_CI_PI_D08		0xC0000041
			IMX8QXP_CSI_D07_CI_PI_D09		0xC0000041

			IMX8QXP_CSI_MCLK_CI_PI_MCLK		0xC0000041
			IMX8QXP_CSI_PCLK_CI_PI_PCLK		0xC0000041
			IMX8QXP_CSI_HSYNC_CI_PI_HSYNC		0xC0000041
			IMX8QXP_CSI_VSYNC_CI_PI_VSYNC		0xC0000041
			IMX8QXP_CSI_EN_LSIO_GPIO3_IO02		0xC0000041
			IMX8QXP_CSI_RESET_LSIO_GPIO3_IO03	0xC0000041
		>;
	};

	pinctrl_lcdif: lcdifgrp {
		fsl,pins = <
			IMX8QXP_ESAI0_FSR_ADMA_LCDIF_D00	0x00000060
			IMX8QXP_ESAI0_FST_ADMA_LCDIF_D01	0x00000060
			IMX8QXP_ESAI0_SCKR_ADMA_LCDIF_D02	0x00000060
			IMX8QXP_ESAI0_SCKT_ADMA_LCDIF_D03	0x00000060
			IMX8QXP_ESAI0_TX0_ADMA_LCDIF_D04	0x00000060
			IMX8QXP_ESAI0_TX1_ADMA_LCDIF_D05	0x00000060
			IMX8QXP_ESAI0_TX2_RX3_ADMA_LCDIF_D06	0x00000060
			IMX8QXP_ESAI0_TX3_RX2_ADMA_LCDIF_D07	0x00000060
			IMX8QXP_ESAI0_TX4_RX1_ADMA_LCDIF_D08	0x00000060
			IMX8QXP_ESAI0_TX5_RX0_ADMA_LCDIF_D09	0x00000060
			IMX8QXP_SPDIF0_RX_ADMA_LCDIF_D10	0x00000060
			IMX8QXP_SPDIF0_TX_ADMA_LCDIF_D11	0x00000060
			IMX8QXP_SPDIF0_EXT_CLK_ADMA_LCDIF_D12	0x00000060
			IMX8QXP_SPI3_SCK_ADMA_LCDIF_D13		0x00000060
			IMX8QXP_SPI3_SDO_ADMA_LCDIF_D14		0x00000060
			IMX8QXP_SPI3_SDI_ADMA_LCDIF_D15		0x00000060
			IMX8QXP_UART1_RTS_B_ADMA_LCDIF_D16	0x00000060
			IMX8QXP_UART1_CTS_B_ADMA_LCDIF_D17	0x00000060
			IMX8QXP_SPI3_CS0_ADMA_LCDIF_HSYNC	0x00000060
			IMX8QXP_SPI3_CS1_ADMA_LCDIF_RESET	0x00000060
			IMX8QXP_MCLK_IN1_ADMA_LCDIF_EN		0x00000060
			IMX8QXP_MCLK_IN0_ADMA_LCDIF_VSYNC	0x00000060
			IMX8QXP_MCLK_OUT0_ADMA_LCDIF_CLK	0x00000060
		>;
	};

	pinctrl_lcdifpwm: lcdifpwmgrp {
		fsl,pins = <
			IMX8QXP_SPI0_CS1_ADMA_LCD_PWM0_OUT	0x00000060
		>;
	};
};
